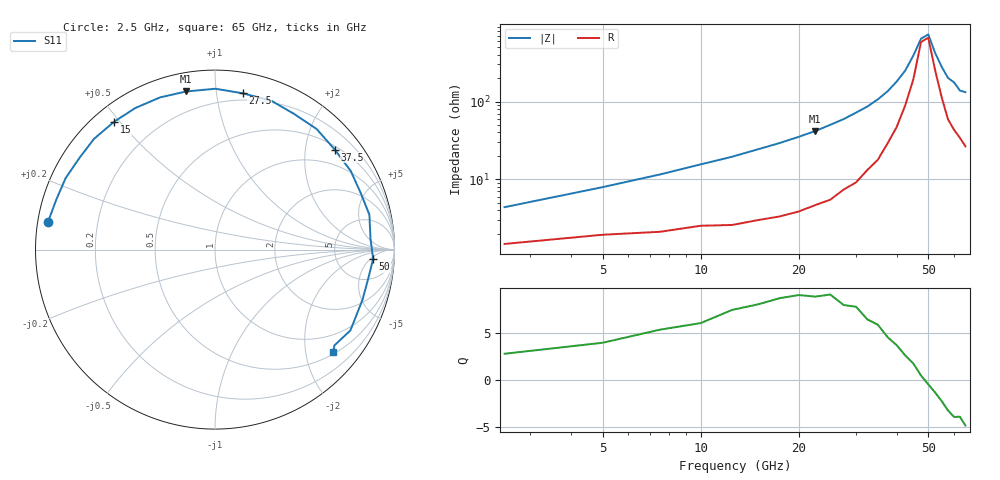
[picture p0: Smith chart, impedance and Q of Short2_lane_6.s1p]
! File created by SignalIntegrity v1.5.1: Signal and Power Integrity Tools
! https://github.com/Nubis-Communications/SignalIntegrity
# MHz S MA R 50.0
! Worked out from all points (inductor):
!   26 points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, 2.5 GHz to 65 GHz, reference 50 ohm
!   read as one part to ground: L = 235 pH near 5 GHz
!   highest Q = 9.06 at 22.5 GHz (marker M1), where L = 293 pH
!   self-resonance near 48.67 GHz
!   S11 on the Smith chart (normalised r, x): 2.5 GHz: 0.03, +0.08; 15 GHz: 0.06, +0.48; 27.5 GHz: 0.15, +1.18; 37.5 GHz: 0.58, +2.65; 50 GHz: 13, -6; 65 GHz: 0.53, -2.58
2500  0.943 170.5
5000  0.927 162.5
7500  0.9226 154.4
10000  0.9117 145.8
12500  0.9138 137.6
15000  0.9074 128.3
17500  0.9052 119.4
20000  0.9016 109.8
22500  0.8955 100.3
25000  0.8963 89.8
27500  0.8844 80.0
30000  0.8873 69.5
32500  0.875 59.9
35000  0.8786 49.9
37500  0.8693 39.9
40000  0.874 30.0
42500  0.8709 21.2
45000  0.8819 12.7
47500  0.8685 3.8
50000  0.8827 -3.3
52500  0.8686 -11.0
55000  0.8679 -18.8
57500  0.871 -26.9
60000  0.8783 -30.9
62500  0.853 -38.8
65000  0.8741 -41.0
